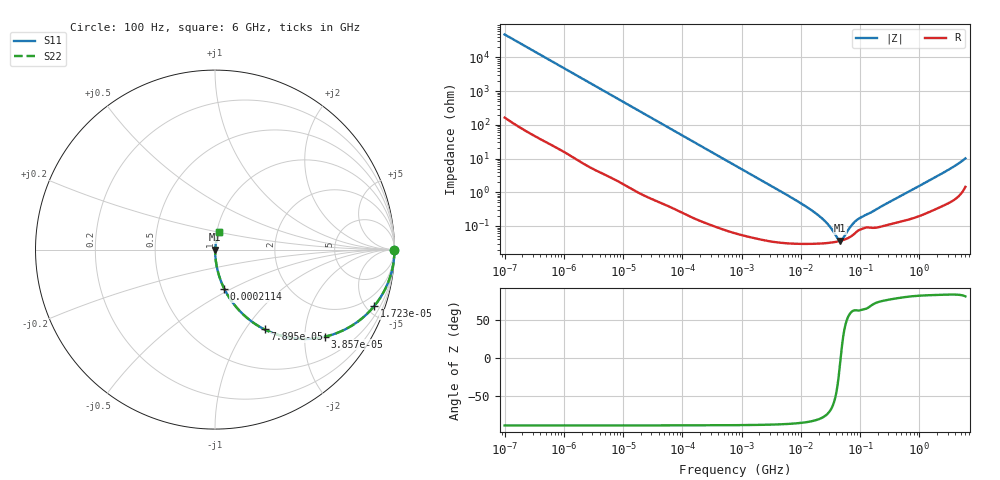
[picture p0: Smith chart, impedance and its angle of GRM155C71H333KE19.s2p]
!Murata Part Number: GRM155C71H333KE19
!These Parameters are Measured in Series Mode Connection
!Data Generated on Mar 30, 2021
!  o--ll--o
!Port1  Port2
!  o------o
!Operation Temp=25[degC], DC Bias Voltage=0[V]
!Freq. Start=100[Hz] Stop=6[GHz] 401[Steps]
# Hz S RI R 50
!Freq.(Hz) S11(Real) S11(Imag) S21(Real) S21(Imag) S12(Real) S12(Imag) S22(Real) S22(Imag)
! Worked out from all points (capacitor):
!   401 points, 100 Hz to 6 GHz, reference 50 ohm
!   read as one part in series: C = 33.2 nF near 109 Hz
!   lowest |Z| = 36.5 mohm at 45.56 MHz (marker M1)
!   series resonance near 47.07 MHz, so ESL is about 340 pH
!   S11 on the Smith chart (normalised r, x): 100 Hz: open; 17.23 kHz: 1.02, -5.62; 38.57 kHz: 1.01, -2.52; 78.95 kHz: 1.01, -1.23; 211.4 kHz: 1.00, -0.46; 6 GHz: 1.03, +0.20
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100  1 -0.00209  1.15e-05 0.00209  1.15e-05 0.00209  1 -0.00209
2008  0.9981 -0.0416  0.00186 0.0416  0.00186 0.0416  0.9981 -0.0416
6433  0.9821 -0.1307  0.0179 0.1307  0.0179 0.1307  0.9821 -0.1307
17227  0.8868 -0.3151  0.1132 0.3151  0.1132 0.3151  0.8868 -0.3151
25777  0.7786 -0.4133  0.2214 0.4133  0.2214 0.4133  0.7786 -0.4133
38569  0.6122 -0.4852  0.3878 0.4852  0.3878 0.4852  0.6122 -0.4852
40335  0.5909 -0.4896  0.4091 0.4896  0.4091 0.4896  0.5909 -0.4896
78952  0.2758 -0.4445  0.7242 0.4445  0.7242 0.4445  0.2758 -0.4445
123542  0.1357 -0.3398  0.8643 0.3398  0.8643 0.3398  0.1357 -0.3398
211427  0.0516 -0.2183  0.9484 0.2183  0.9484 0.2183  0.0516 -0.2183
774597  0.00457 -0.0629  0.9954 0.0629  0.9954 0.0629  0.00457 -0.0629
6353432  0.00036 -0.00761  0.9996 0.00761  0.9996 0.00761  0.00036 -0.00761
1.555665e7  0.000302 -0.00282  0.9997 0.00282  0.9997 0.00282  0.000302 -0.00282
2.662322e7  0.00031 -0.00126  0.9997 0.00126  0.9997 0.00126  0.00031 -0.00126
4.165952e7  0.000346 -0.000256  0.9997 0.000256  0.9997 0.000256  0.000346 -0.000256
4.556224e7  0.000359 -6.77e-05  0.9996 6.77e-05  0.9996 6.77e-05  0.000359 -6.77e-05
5.211241e7  0.000384 0.000214  0.9996 -0.000214  0.9996 -0.000214  0.000384 0.000214
7.129496e7  0.000498 0.000894  0.9995 -0.000894  0.9995 -0.000894  0.000498 0.000894
8.918374e7  0.000694 0.00136  0.9993 -0.00136  0.9993 -0.00136  0.000694 0.00136
3.124326e8  0.00113 0.005  0.9989 -0.005  0.9989 -0.005  0.00113 0.005
2.562649e9  0.00542 0.0377  0.9946 -0.0377  0.9946 -0.0377  0.00542 0.0377
6e9  0.0237 0.0962  0.9763 -0.0962  0.9763 -0.0962  0.0237 0.0962
